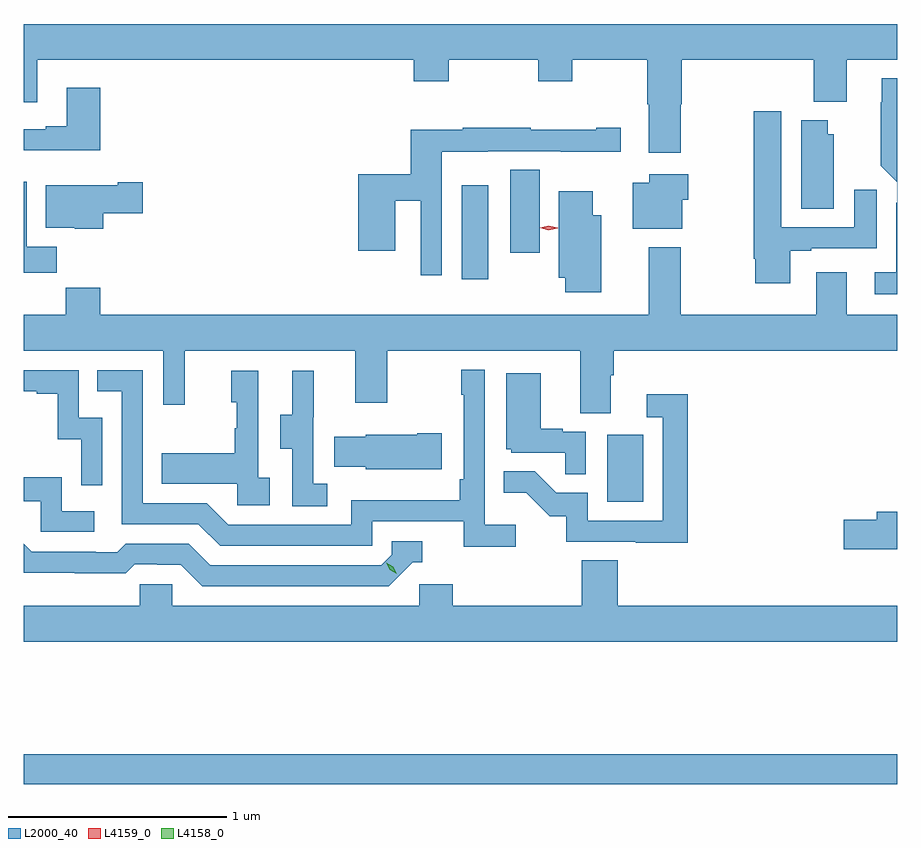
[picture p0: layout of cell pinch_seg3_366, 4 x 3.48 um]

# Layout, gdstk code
import gdstk
lib = gdstk.Library(unit=1e-6, precision=1e-09)
def R(c, l, rs):  # rectangles x0, y0, x1, y1
    for r in rs: c.add(gdstk.rectangle(r[:2], r[2:], *l))
def P(c, l, *ps):  # polygons
    for p in ps: c.add(gdstk.Polygon(p, *l))
L2000_40 = (2000, 40)
L4158_0 = (4158, 0)
L4159_0 = (4159, 0)

pinch_seg3_366 = lib.new_cell('pinch_seg3_366')
R(pinch_seg3_366, L2000_40, [(987.642,700.264,991.642,700.4), (990.314,701.556,990.478,701.863), (989.648,702.576,989.77,703.006), (989.87,702.696,990.004,703.076)])
P(pinch_seg3_366, L2000_40, [(990.651,703.376),(990.656,703.376),(990.656,703.58),(991.259,703.58),(991.259,703.388),(991.411,703.388),(991.411,703.58),(991.642,703.58),(991.642,703.744),(987.642,703.744),(987.642,703.386),(987.703,703.386),(987.703,703.58),(989.429,703.58),(989.429,703.481),(989.589,703.481),(989.589,703.58),(989.998,703.58),(989.998,703.481),(990.153,703.481),(990.153,703.58),(990.496,703.58),(990.496,703.376),(990.503,703.376),(990.503,703.155),(990.651,703.155)],
  [(991.642,703.495),(991.571,703.495),(991.571,703.385),(991.567,703.385),(991.567,703.094),(991.641,703.02),(991.641,702.926),(991.637,702.926),(991.637,702.607),(991.539,702.607),(991.539,702.506),(991.642,702.506)],
  [(987.992,703.453),(987.839,703.453),(987.839,703.276),(987.743,703.276),(987.743,703.263),(987.642,703.263),(987.642,703.166),(987.992,703.166)],
  [(991.153,702.705),(991.249,702.705),(991.249,702.717),(991.549,702.717),(991.549,702.985),(991.445,702.985),(991.445,702.813),(991.111,702.813),(991.111,703.345),(990.985,703.345),(990.985,702.67),(990.992,702.67),(990.992,702.558),(991.153,702.558)],
  [(991.351,703.239),(991.324,703.239),(991.324,703.303),(991.202,703.303),(991.202,702.898),(991.351,702.898)],
  [(989.556,703.16),(989.766,703.16),(989.766,703.161),(990.1,703.161),(990.1,703.16),(990.376,703.16),(990.376,703.27),(990.263,703.27),(990.263,703.26),(989.963,703.26),(989.963,703.27),(989.653,703.27),(989.653,703.26),(989.414,703.26),(989.414,703.057),(989.174,703.057),(989.174,702.705),(989.344,702.705),(989.344,702.935),(989.46,702.935),(989.46,702.594),(989.556,702.594)],
  [(990.658,702.939),(990.684,702.939),(990.684,703.057),(990.506,703.057),(990.506,703.018),(990.431,703.018),(990.431,702.806),(990.658,702.806)],
  [(987.794,702.724),(987.655,702.724),(987.655,703.021),(987.642,703.021),(987.642,702.606),(987.794,702.606)],
  [(988.007,702.877),(988.186,702.877),(988.186,703.019),(988.073,703.019),(988.073,703.006),(987.743,703.006),(987.743,702.812),(987.876,702.812),(987.876,702.806),(988.007,702.806)],
  [(990.286,702.868),(990.247,702.868),(990.247,702.979),(990.092,702.979),(990.092,702.581),(990.121,702.581),(990.121,702.516),(990.286,702.516)],
  [(990.331,702.136),(990.344,702.136),(990.344,702.248),(991.642,702.248),(991.642,702.412),(991.411,702.412),(991.411,702.607),(991.271,702.607),(991.271,702.412),(990.651,702.412),(990.651,702.721),(990.503,702.721),(990.503,702.412),(987.992,702.412),(987.992,702.536),(987.835,702.536),(987.835,702.412),(987.642,702.412),(987.642,702.248),(988.281,702.248),(988.281,702),(988.379,702),(988.379,702.248),(989.159,702.248),(989.159,702.009),(989.307,702.009),(989.307,702.248),(990.191,702.248),(990.191,701.962),(990.331,701.962)],
  [(989.896,701.452),(989.754,701.452),(989.754,702.16),(989.646,702.16),(989.646,702.047),(989.658,702.047),(989.658,701.659),(989.638,701.659),(989.638,701.563),(989.142,701.563),(989.142,701.451),(988.578,701.451),(988.479,701.55),(988.188,701.55),(988.188,702.159),(987.979,702.159),(987.979,702.063),(988.092,702.063),(988.092,701.454),(988.442,701.454),(988.541,701.355),(989.238,701.355),(989.238,701.466),(989.657,701.466),(989.657,701.35),(989.896,701.35)],
  [(988.002,701.94),(987.894,701.94),(987.894,702.159),(987.642,702.159),(987.642,702.063),(987.701,702.063),(987.701,702.051),(987.797,702.051),(987.797,701.843),(987.906,701.843),(987.906,701.631),(988.002,701.631)],
  [(988.768,701.666),(988.716,701.666),(988.716,702.157),(988.592,702.157),(988.592,702.012),(988.618,702.012),(988.618,701.894),(988.608,701.894),(988.608,701.779),(988.273,701.779),(988.273,701.639),(988.62,701.639),(988.62,701.541),(988.768,701.541)],
  [(989.032,701.639),(988.968,701.639),(988.968,701.943),(988.97,701.943),(988.97,702.157),(988.871,702.157),(988.871,701.955),(988.817,701.955),(988.817,701.8),(988.872,701.8),(988.872,701.536),(989.032,701.536)],
  [(990.216,701.877),(990.11,701.877),(990.11,701.89),(990.01,701.89),(990.01,702.145),(989.852,702.145),(989.852,701.796),(989.874,701.796),(989.874,701.781),(990.121,701.781),(990.121,701.683),(990.216,701.683)],
  [(990.683,702.049),(990.495,702.049),(990.495,701.943),(990.567,701.943),(990.567,701.469),(990.225,701.469),(990.225,701.598),(990.081,701.598),(989.983,701.696),(989.839,701.696),(989.839,701.597),(989.943,701.597),(990.05,701.49),(990.127,701.49),(990.127,701.373),(990.445,701.373),(990.445,701.368),(990.683,701.368)],
  [(989.557,701.871),(989.444,701.871),(989.444,701.863),(989.208,701.863),(989.208,701.854),(989.065,701.854),(989.065,701.717),(989.208,701.717),(989.208,701.705),(989.557,701.705)],
  [(987.964,701.514),(987.816,701.514),(987.816,701.668),(987.642,701.668),(987.642,701.559),(987.72,701.559),(987.72,701.418),(987.964,701.418)],
  [(991.642,701.51),(991.547,701.51),(991.547,701.474),(991.398,701.474),(991.398,701.339),(991.642,701.339)],
  [(989.424,701.28),(989.467,701.28),(989.467,701.376),(989.328,701.376),(989.328,701.313),(989.28,701.265),(988.497,701.265),(988.398,701.364),(988.109,701.364),(988.07,701.325),(987.971,701.325),(987.971,701.328),(987.678,701.328),(987.642,701.364),(987.642,701.231),(987.876,701.231),(987.876,701.229),(988.109,701.229),(988.151,701.271),(988.254,701.271),(988.254,701.268),(988.361,701.268),(988.46,701.169),(989.313,701.169)],
  [(991.642,701.08),(990.362,701.08),(990.362,701.288),(990.197,701.288),(990.197,701.08),(989.606,701.08),(989.606,701.178),(989.454,701.178),(989.454,701.08),(988.323,701.08),(988.323,701.178),(988.173,701.178),(988.173,701.08),(987.642,701.08),(987.642,700.916),(991.642,700.916)])
P(pinch_seg3_366, L4158_0, [(989.35,701.226),(989.319,701.245),(989.302,701.278),(989.302,701.278),(989.303,701.278),(989.334,701.259),(989.35,701.226),(989.35,701.226)])
P(pinch_seg3_366, L4159_0, [(990.047,702.8),(990.006,702.81),(990.006,702.811),(990.006,702.811),(990.047,702.82),(990.088,702.81),(990.088,702.81),(990.088,702.809)])

lib.write_gds('pinch_seg3_366.gds')
